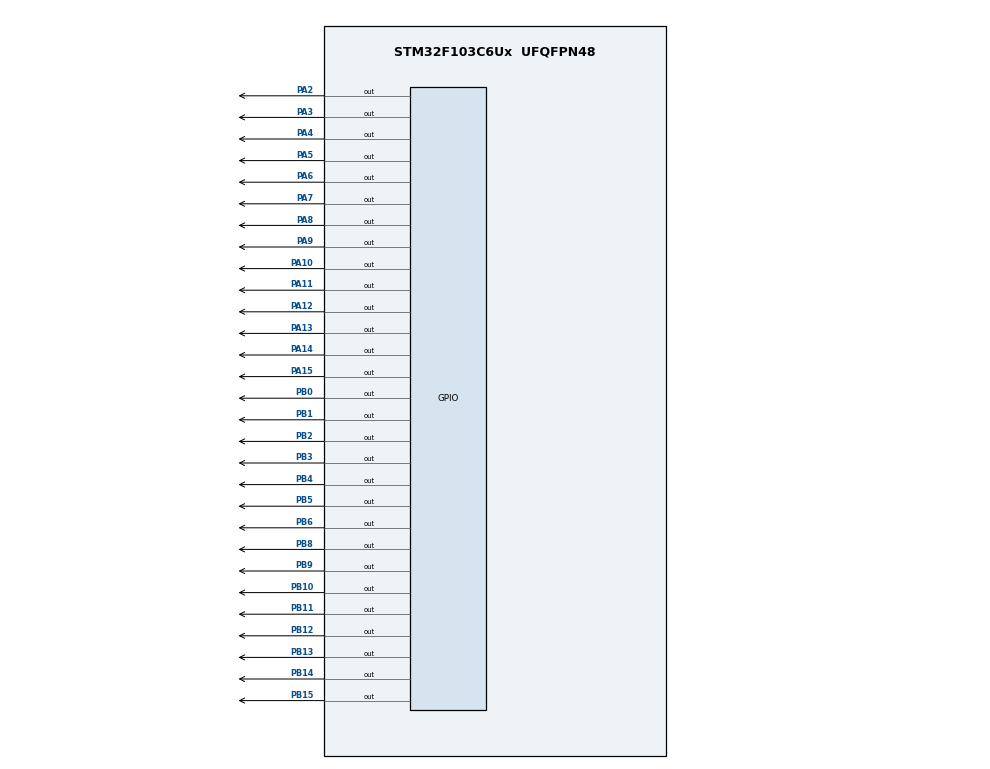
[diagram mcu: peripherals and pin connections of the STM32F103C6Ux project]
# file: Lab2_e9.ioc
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Mcu.Family=STM32F1
Mcu.Name=STM32F103C6Ux
Mcu.Package=UFQFPN48
NVIC.PriorityGroup=NVIC_PRIORITYGROUP_4
NVIC.TIM2_IRQn=true\:0\:0\:false\:false\:true\:true\:true
PA10.PinState=GPIO_PIN_SET
PA10.Signal=GPIO_Output
PA11.PinState=GPIO_PIN_SET
PA11.Signal=GPIO_Output
PA12.PinState=GPIO_PIN_SET
PA12.Signal=GPIO_Output
PA13.PinState=GPIO_PIN_SET
PA13.Signal=GPIO_Output
PA14.PinState=GPIO_PIN_SET
PA14.Signal=GPIO_Output
PA15.PinState=GPIO_PIN_SET
PA15.Signal=GPIO_Output
PA2.PinState=GPIO_PIN_SET
PA2.Signal=GPIO_Output
PA3.PinState=GPIO_PIN_SET
PA3.Signal=GPIO_Output
PA4.PinState=GPIO_PIN_SET
PA4.Signal=GPIO_Output
PA5.PinState=GPIO_PIN_SET
PA5.Signal=GPIO_Output
PA6.PinState=GPIO_PIN_SET
PA6.Signal=GPIO_Output
PA7.PinState=GPIO_PIN_SET
PA7.Signal=GPIO_Output
PA8.PinState=GPIO_PIN_SET
PA8.Signal=GPIO_Output
PA9.PinState=GPIO_PIN_SET
PA9.Signal=GPIO_Output
PB0.PinState=GPIO_PIN_SET
PB0.Signal=GPIO_Output
PB1.PinState=GPIO_PIN_SET
PB1.Signal=GPIO_Output
PB10.PinState=GPIO_PIN_SET
PB10.Signal=GPIO_Output
PB11.PinState=GPIO_PIN_SET
PB11.Signal=GPIO_Output
PB12.PinState=GPIO_PIN_SET
PB12.Signal=GPIO_Output
PB13.PinState=GPIO_PIN_SET
PB13.Signal=GPIO_Output
PB14.PinState=GPIO_PIN_SET
PB14.Signal=GPIO_Output
PB15.PinState=GPIO_PIN_SET
PB15.Signal=GPIO_Output
PB2.PinState=GPIO_PIN_SET
PB2.Signal=GPIO_Output
PB3.PinState=GPIO_PIN_SET
PB3.Signal=GPIO_Output
PB4.PinState=GPIO_PIN_SET
PB4.Signal=GPIO_Output
PB5.PinState=GPIO_PIN_SET
PB5.Signal=GPIO_Output
PB6.PinState=GPIO_PIN_SET
PB6.Signal=GPIO_Output
PB8.PinState=GPIO_PIN_SET
PB8.Signal=GPIO_Output
PB9.PinState=GPIO_PIN_SET
PB9.Signal=GPIO_Output
ProjectManager.HeapSize=0x200
ProjectManager.StackSize=0x400
ProjectManager.TargetToolchain=STM32CubeIDE
RCC.APB1Freq_Value=8000000
RCC.APB2Freq_Value=8000000
TIM2.Period=9
TIM2.Prescaler=7999
VP_SYS_VS_ND.Mode=No_Debug
VP_TIM2_VS_ClockSourceINT.Mode=Internal
board=custom

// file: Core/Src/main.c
/* USER CODE BEGIN Header */
/**
  ******************************************************************************
  * @file           : main.c
  * @brief          : Main program body
  ******************************************************************************
  * @attention
  *
  * <h2><center>&copy; Copyright (c) 2026 STMicroelectronics.
  * All rights reserved.</center></h2>
  *
  * This software component is licensed by ST under BSD 3-Clause license,
  * the "License"; You may not use this file except in compliance with the
  * License. You may obtain a copy of the License at:
  *                        opensource.org/licenses/BSD-3-Clause
  *
  ******************************************************************************
  */
/* USER CODE END Header */
#include "main.h"

/* USER CODE BEGIN PD */

#define SEG_A_PIN                  GPIO_PIN_0
#define SEG_B_PIN                  GPIO_PIN_1
#define SEG_C_PIN                  GPIO_PIN_2
#define SEG_D_PIN                  GPIO_PIN_3
#define SEG_E_PIN                  GPIO_PIN_4
#define SEG_F_PIN                  GPIO_PIN_5
#define SEG_G_PIN                  GPIO_PIN_6
#define SEGMENT_GPIO_PORT          GPIOB

#define SEGMENT_PINS              (SEG_A_PIN | SEG_B_PIN | SEG_C_PIN | \
                                   SEG_D_PIN | SEG_E_PIN | SEG_F_PIN | \
                                   SEG_G_PIN)

#define EN0_PIN                    GPIO_PIN_6
#define EN1_PIN                    GPIO_PIN_7
#define EN2_PIN                    GPIO_PIN_8
#define EN3_PIN                    GPIO_PIN_9
#define DIGIT_ENABLE_GPIO_PORT     GPIOA

#define DIGIT_ENABLE_PINS         (EN0_PIN | EN1_PIN | EN2_PIN | EN3_PIN)

#define DOT_PIN                    GPIO_PIN_4
#define DOT_GPIO_PORT              GPIOA

#define AUX_LED_PIN                GPIO_PIN_5
#define AUX_LED_GPIO_PORT          GPIOA

#define ENM0_PIN                   GPIO_PIN_2
#define ENM1_PIN                   GPIO_PIN_3
#define ENM2_PIN                   GPIO_PIN_10
#define ENM3_PIN                   GPIO_PIN_11
#define ENM4_PIN                   GPIO_PIN_12
#define ENM5_PIN                   GPIO_PIN_13
#define ENM6_PIN                   GPIO_PIN_14
#define ENM7_PIN                   GPIO_PIN_15
#define MATRIX_ENABLE_GPIO_PORT    GPIOA

#define MATRIX_ENABLE_PINS        (ENM0_PIN | ENM1_PIN | ENM2_PIN | \
                                   ENM3_PIN | ENM4_PIN | ENM5_PIN | \
                                   ENM6_PIN | ENM7_PIN)

#define MATRIX_ROW_GPIO_PORT       GPIOB
#define MATRIX_ROW_PINS           (GPIO_PIN_8 | GPIO_PIN_9 | GPIO_PIN_10 | \
                                   GPIO_PIN_11 | GPIO_PIN_12 | GPIO_PIN_13 | \
                                   GPIO_PIN_14 | GPIO_PIN_15)

#define MAX_DIGITS                 4U
#define MAX_MATRIX_COLUMNS         8U
#define DIGIT_SLOT_MS              250
#define MATRIX_COLUMN_PERIOD_MS    10
#define TIMER_CYCLE                10

/* USER CODE END PD */

TIM_HandleTypeDef htim2;

/* USER CODE BEGIN PV */

const int MAX_LED = 4;
volatile int index_led = 0;
volatile int led_buffer[4] = {0, 0, 0, 0};

const int MAX_LED_MATRIX = 8;
volatile int index_led_matrix = 0;
uint8_t matrix_buffer[8] =
{
  0x00U,
  0x7EU,
  0x09U,
  0x09U,
  0x09U,
  0x7EU,
  0x00U,
  0x00U
};

int hour = 15;
int minute = 8;
int second = 50;

volatile int timer0_counter = 0;
volatile int timer0_flag = 0;
volatile int timer1_counter = 0;
volatile int timer1_flag = 0;
volatile int timer2_counter = 0;
volatile int timer2_flag = 0;

/* USER CODE END PV */

void SystemClock_Config(void);
static void MX_GPIO_Init(void);
static void MX_TIM2_Init(void);
/* USER CODE BEGIN PFP */

static void disableAllDigits(void);
static void selectDigit(uint8_t index);
static void disableAllMatrixColumns(void);
static void selectMatrixColumn(uint8_t index);
static void writeMatrixRows(uint8_t pattern);
void display7SEG(int num);
void update7SEG(int index);
void updateClockBuffer(void);
void updateLEDMatrix(int index);
void setTimer0(int duration);
void setTimer1(int duration);
void setTimer2(int duration);
void timer_run(void);

/* USER CODE END PFP */

/* USER CODE BEGIN 0 */

static void disableAllDigits(void)
{
  HAL_GPIO_WritePin(DIGIT_ENABLE_GPIO_PORT,
                    DIGIT_ENABLE_PINS,
                    GPIO_PIN_SET);
}

static void selectDigit(uint8_t index)
{
  static const uint16_t enable_pins[MAX_DIGITS] =
  {
    EN0_PIN,
    EN1_PIN,
    EN2_PIN,
    EN3_PIN
  };

  if (index < MAX_DIGITS)
  {
    HAL_GPIO_WritePin(DIGIT_ENABLE_GPIO_PORT,
                      enable_pins[index],
                      GPIO_PIN_RESET);
  }
}

static void disableAllMatrixColumns(void)
{
  HAL_GPIO_WritePin(MATRIX_ENABLE_GPIO_PORT,
                    MATRIX_ENABLE_PINS,
                    GPIO_PIN_SET);
}

static void selectMatrixColumn(uint8_t index)
{
  static const uint16_t enable_pins[MAX_MATRIX_COLUMNS] =
  {
    ENM0_PIN,
    ENM1_PIN,
    ENM2_PIN,
    ENM3_PIN,
    ENM4_PIN,
    ENM5_PIN,
    ENM6_PIN,
    ENM7_PIN
  };

  if (index < MAX_MATRIX_COLUMNS)
  {
    HAL_GPIO_WritePin(MATRIX_ENABLE_GPIO_PORT,
                      enable_pins[index],
                      GPIO_PIN_RESET);
  }
}

static void writeMatrixRows(uint8_t pattern)
{
  uint16_t on_pins;
  uint16_t off_pins;

  on_pins = ((uint16_t)pattern << 8U) & MATRIX_ROW_PINS;
  off_pins = MATRIX_ROW_PINS & (uint16_t)(~on_pins);

  MATRIX_ROW_GPIO_PORT->BSRR =
      (uint32_t)off_pins |
      ((uint32_t)on_pins << 16U);
}

void display7SEG(int num)
{
  static const uint16_t digit_pattern[10] =
  {
    0x3FU,
    0x06U,
    0x5BU,
    0x4FU,
    0x66U,
    0x6DU,
    0x7DU,
    0x07U,
    0x7FU,
    0x6FU
  };

  uint16_t on_pins;
  uint16_t off_pins;

  if ((num < 0) || (num > 9))
  {
    HAL_GPIO_WritePin(SEGMENT_GPIO_PORT,
                      SEGMENT_PINS,
                      GPIO_PIN_SET);
    return;
  }

  on_pins = digit_pattern[num] & SEGMENT_PINS;
  off_pins = SEGMENT_PINS & (uint16_t)(~on_pins);

  SEGMENT_GPIO_PORT->BSRR =
      (uint32_t)off_pins |
      ((uint32_t)on_pins << 16U);
}

void update7SEG(int index)
{
  disableAllDigits();

  switch (index)
  {
    case 0:
      display7SEG(led_buffer[0]);
      selectDigit(0U);
      break;

    case 1:
      display7SEG(led_buffer[1]);
      selectDigit(1U);
      break;

    case 2:
      display7SEG(led_buffer[2]);
      selectDigit(2U);
      break;

    case 3:
      display7SEG(led_buffer[3]);
      selectDigit(3U);
      break;

    default:
      break;
  }
}

void updateClockBuffer(void)
{
  led_buffer[0] = hour / 10;
  led_buffer[1] = hour % 10;
  led_buffer[2] = minute / 10;
  led_buffer[3] = minute % 10;
}

void updateLEDMatrix(int index)
{
  disableAllMatrixColumns();
  writeMatrixRows(0x00U);

  switch (index)
  {
    case 0:
      writeMatrixRows(matrix_buffer[0]);
      selectMatrixColumn(0U);
      break;

    case 1:
      writeMatrixRows(matrix_buffer[1]);
      selectMatrixColumn(1U);
      break;

    case 2:
      writeMatrixRows(matrix_buffer[2]);
      selectMatrixColumn(2U);
      break;

    case 3:
      writeMatrixRows(matrix_buffer[3]);
      selectMatrixColumn(3U);
      break;

    case 4:
      writeMatrixRows(matrix_buffer[4]);
      selectMatrixColumn(4U);
      break;

    case 5:
      writeMatrixRows(matrix_buffer[5]);
      selectMatrixColumn(5U);
      break;

    case 6:
      writeMatrixRows(matrix_buffer[6]);
      selectMatrixColumn(6U);
      break;

    case 7:
      writeMatrixRows(matrix_buffer[7]);
      selectMatrixColumn(7U);
      break;

    default:
      break;
  }
}

void setTimer0(int duration)
{
  timer0_counter = duration / TIMER_CYCLE;
  timer0_flag = 0;
}

void setTimer1(int duration)
{
  timer1_counter = duration / TIMER_CYCLE;
  timer1_flag = 0;
}

void setTimer2(int duration)
{
  timer2_counter = duration / TIMER_CYCLE;
  timer2_flag = 0;
}

void timer_run(void)
{
  if (timer0_counter > 0)
  {
    timer0_counter--;
  }

  if (timer0_counter == 0)
  {
    timer0_flag = 1;
  }

  if (timer1_counter > 0)
  {
    timer1_counter--;
  }

  if (timer1_counter == 0)
  {
    timer1_flag = 1;
  }

  if (timer2_counter > 0)
  {
    timer2_counter--;
  }

  if (timer2_counter == 0)
  {
    timer2_flag = 1;
  }
}

/* USER CODE END 0 */

int main(void)
{

  /* MCU Configuration--------------------------------------------------------*/

  /* Reset of all peripherals, Initializes the Flash interface and the Systick. */
  HAL_Init();

  /* Configure the system clock */
  SystemClock_Config();

  /* Initialize all configured peripherals */
  MX_GPIO_Init();
  MX_TIM2_Init();
  /* USER CODE BEGIN 2 */

  index_led = 0;
  index_led_matrix = 0;

  HAL_GPIO_WritePin(AUX_LED_GPIO_PORT,
                    AUX_LED_PIN,
                    GPIO_PIN_SET);

  HAL_GPIO_WritePin(DOT_GPIO_PORT,
                    DOT_PIN,
                    GPIO_PIN_SET);

  disableAllMatrixColumns();
  writeMatrixRows(0x00U);

  updateClockBuffer();
  update7SEG(index_led);

  index_led++;

  if (index_led >= MAX_LED)
  {
    index_led = 0;
  }

  updateLEDMatrix(index_led_matrix);

  index_led_matrix++;

  if (index_led_matrix >= MAX_LED_MATRIX)
  {
    index_led_matrix = 0;
  }

  setTimer0(1000);
  setTimer1(DIGIT_SLOT_MS);
  setTimer2(MATRIX_COLUMN_PERIOD_MS);

  if (HAL_TIM_Base_Start_IT(&htim2) != HAL_OK)
  {
    Error_Handler();
  }

  /* USER CODE END 2 */

  /* Infinite loop */
  while (1)
  {

    /* USER CODE BEGIN 3 */

    if (timer0_flag == 1)
    {
      second++;

      if (second >= 60)
      {
        second = 0;
        minute++;
      }

      if (minute >= 60)
      {
        minute = 0;
        hour++;
      }

      if (hour >= 24)
      {
        hour = 0;
      }

      updateClockBuffer();
      HAL_GPIO_TogglePin(DOT_GPIO_PORT, DOT_PIN);
      setTimer0(1000);
    }

    if (timer1_flag == 1)
    {
      update7SEG(index_led);

      index_led++;

      if (index_led >= MAX_LED)
      {
        index_led = 0;
      }

      setTimer1(DIGIT_SLOT_MS);
    }

    if (timer2_flag == 1)
    {
      updateLEDMatrix(index_led_matrix);

      index_led_matrix++;

      if (index_led_matrix >= MAX_LED_MATRIX)
      {
        index_led_matrix = 0;
      }

      setTimer2(MATRIX_COLUMN_PERIOD_MS);
    }
  }
  /* USER CODE END 3 */
}

void SystemClock_Config(void)
{
  RCC_OscInitTypeDef RCC_OscInitStruct = {0};
  RCC_ClkInitTypeDef RCC_ClkInitStruct = {0};

  /** Initializes the RCC Oscillators according to the specified parameters
  * in the RCC_OscInitTypeDef structure.
  */
  RCC_OscInitStruct.OscillatorType = RCC_OSCILLATORTYPE_HSI;
  RCC_OscInitStruct.HSIState = RCC_HSI_ON;
  RCC_OscInitStruct.HSICalibrationValue = RCC_HSICALIBRATION_DEFAULT;
  RCC_OscInitStruct.PLL.PLLState = RCC_PLL_NONE;
  if (HAL_RCC_OscConfig(&RCC_OscInitStruct) != HAL_OK)
  {
    Error_Handler();
  }
  /** Initializes the CPU, AHB and APB buses clocks
  */
  RCC_ClkInitStruct.ClockType = RCC_CLOCKTYPE_HCLK|RCC_CLOCKTYPE_SYSCLK
                              |RCC_CLOCKTYPE_PCLK1|RCC_CLOCKTYPE_PCLK2;
  RCC_ClkInitStruct.SYSCLKSource = RCC_SYSCLKSOURCE_HSI;
  RCC_ClkInitStruct.AHBCLKDivider = RCC_SYSCLK_DIV1;
  RCC_ClkInitStruct.APB1CLKDivider = RCC_HCLK_DIV1;
  RCC_ClkInitStruct.APB2CLKDivider = RCC_HCLK_DIV1;

  if (HAL_RCC_ClockConfig(&RCC_ClkInitStruct, FLASH_LATENCY_0) != HAL_OK)
  {
    Error_Handler();
  }
}

static void MX_TIM2_Init(void)
{

  TIM_ClockConfigTypeDef sClockSourceConfig = {0};
  TIM_MasterConfigTypeDef sMasterConfig = {0};

  htim2.Instance = TIM2;
  htim2.Init.Prescaler = 7999;
  htim2.Init.CounterMode = TIM_COUNTERMODE_UP;
  htim2.Init.Period = 9;
  htim2.Init.ClockDivision = TIM_CLOCKDIVISION_DIV1;
  htim2.Init.AutoReloadPreload = TIM_AUTORELOAD_PRELOAD_DISABLE;
  if (HAL_TIM_Base_Init(&htim2) != HAL_OK)
  {
    Error_Handler();
  }
  sClockSourceConfig.ClockSource = TIM_CLOCKSOURCE_INTERNAL;
  if (HAL_TIM_ConfigClockSource(&htim2, &sClockSourceConfig) != HAL_OK)
  {
    Error_Handler();
  }
  sMasterConfig.MasterOutputTrigger = TIM_TRGO_RESET;
  sMasterConfig.MasterSlaveMode = TIM_MASTERSLAVEMODE_DISABLE;
  if (HAL_TIMEx_MasterConfigSynchronization(&htim2, &sMasterConfig) != HAL_OK)
  {
    Error_Handler();
  }

}

static void MX_GPIO_Init(void)
{
  GPIO_InitTypeDef GPIO_InitStruct = {0};

  /* GPIO Ports Clock Enable */
  __HAL_RCC_GPIOA_CLK_ENABLE();
  __HAL_RCC_GPIOB_CLK_ENABLE();

  /*Configure GPIO pin Output Level */
  HAL_GPIO_WritePin(GPIOA, GPIO_PIN_2|GPIO_PIN_3|GPIO_PIN_10|GPIO_PIN_11
                          |GPIO_PIN_12|GPIO_PIN_13|GPIO_PIN_14|GPIO_PIN_15, GPIO_PIN_SET);

  /*Configure GPIO pin Output Level */
  HAL_GPIO_WritePin(GPIOA, GPIO_PIN_4|GPIO_PIN_5|GPIO_PIN_6|GPIO_PIN_7
                          |GPIO_PIN_8|GPIO_PIN_9, GPIO_PIN_SET);

  /*Configure GPIO pin Output Level */
  HAL_GPIO_WritePin(GPIOB, GPIO_PIN_0|GPIO_PIN_1|GPIO_PIN_2|GPIO_PIN_3
                          |GPIO_PIN_4|GPIO_PIN_5|GPIO_PIN_6, GPIO_PIN_SET);

  /*Configure GPIO pin Output Level */
  HAL_GPIO_WritePin(GPIOB, GPIO_PIN_10|GPIO_PIN_11|GPIO_PIN_12|GPIO_PIN_13
                          |GPIO_PIN_14|GPIO_PIN_15|GPIO_PIN_8|GPIO_PIN_9, GPIO_PIN_SET);

  /*Configure GPIO pins : PA2 PA3 PA4 PA5
                           PA6 PA7 PA8 PA9
                           PA10 PA11 PA12 PA13
                           PA14 PA15 */
  GPIO_InitStruct.Pin = GPIO_PIN_2|GPIO_PIN_3|GPIO_PIN_4|GPIO_PIN_5
                          |GPIO_PIN_6|GPIO_PIN_7|GPIO_PIN_8|GPIO_PIN_9
                          |GPIO_PIN_10|GPIO_PIN_11|GPIO_PIN_12|GPIO_PIN_13
                          |GPIO_PIN_14|GPIO_PIN_15;
  GPIO_InitStruct.Mode = GPIO_MODE_OUTPUT_PP;
  GPIO_InitStruct.Pull = GPIO_NOPULL;
  GPIO_InitStruct.Speed = GPIO_SPEED_FREQ_LOW;
  HAL_GPIO_Init(GPIOA, &GPIO_InitStruct);

  /*Configure GPIO pins : PB0 PB1 PB2 PB10
                           PB11 PB12 PB13 PB14
                           PB15 PB3 PB4 PB5
                           PB6 PB8 PB9 */
  GPIO_InitStruct.Pin = GPIO_PIN_0|GPIO_PIN_1|GPIO_PIN_2|GPIO_PIN_10
                          |GPIO_PIN_11|GPIO_PIN_12|GPIO_PIN_13|GPIO_PIN_14
                          |GPIO_PIN_15|GPIO_PIN_3|GPIO_PIN_4|GPIO_PIN_5
                          |GPIO_PIN_6|GPIO_PIN_8|GPIO_PIN_9;
  GPIO_InitStruct.Mode = GPIO_MODE_OUTPUT_PP;
  GPIO_InitStruct.Pull = GPIO_NOPULL;
  GPIO_InitStruct.Speed = GPIO_SPEED_FREQ_LOW;
  HAL_GPIO_Init(GPIOB, &GPIO_InitStruct);

}

/* USER CODE BEGIN 4 */

void HAL_TIM_PeriodElapsedCallback(TIM_HandleTypeDef *htim)
{
  if (htim->Instance != TIM2)
  {
    return;
  }

  timer_run();
}

/* USER CODE END 4 */

void Error_Handler(void)
{
  __disable_irq();
  while (1)
  {
  }
}

/************************ (C) COPYRIGHT STMicroelectronics *****END OF FILE****/
